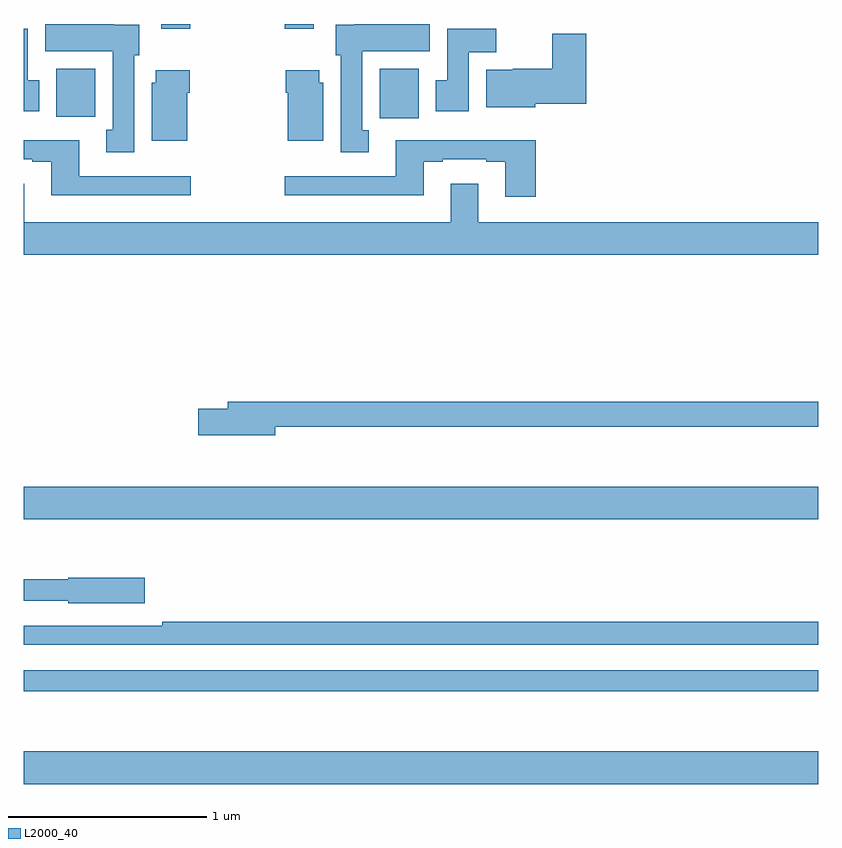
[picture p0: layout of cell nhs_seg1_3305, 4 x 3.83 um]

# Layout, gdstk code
import gdstk
lib = gdstk.Library(unit=1e-6, precision=1e-09)
def R(c, l, rs):  # rectangles x0, y0, x1, y1
    for r in rs: c.add(gdstk.rectangle(r[:2], r[2:], *l))
def P(c, l, *ps):  # polygons
    for p in ps: c.add(gdstk.Polygon(p, *l))
L2000_40 = (2000, 40)

nhs_seg1_3305 = lib.new_cell('nhs_seg1_3305')
R(nhs_seg1_3305, L2000_40, [(289,578.372,293,578.536), (289,578.838,293,578.946), (289,579.704,293,579.868), (290.793,581.724,290.989,581.974), (289.163,581.732,289.36,581.974), (289.691,582.174,289.839,582.199), (290.314,582.174,290.461,582.199)])
P(nhs_seg1_3305, L2000_40, [(290.737,581.665),(290.704,581.665),(290.704,582.062),(291.043,582.062),(291.043,582.199),(290.663,582.199),(290.663,582.196),(290.57,582.196),(290.57,582.042),(290.597,582.042),(290.597,581.553),(290.737,581.553)],
  [(289.555,582.042),(289.582,582.042),(289.582,582.196),(289.453,582.196),(289.453,582.199),(289.109,582.199),(289.109,582.062),(289.448,582.062),(289.448,581.666),(289.415,581.666),(289.415,581.553),(289.555,581.553)],
  [(289.078,581.916),(289.021,581.916),(289.021,582.174),(289,582.174),(289,581.76),(289.078,581.76)],
  [(291.241,582.056),(291.38,582.056),(291.38,582.174),(291.131,582.174),(291.131,581.916),(291.074,581.916),(291.074,581.76),(291.241,581.76)],
  [(291.576,581.798),(291.833,581.798),(291.833,582.151),(291.662,582.151),(291.662,581.974),(291.462,581.974),(291.462,581.968),(291.329,581.968),(291.329,581.78),(291.576,581.78)],
  [(289.822,581.852),(289.835,581.852),(289.835,581.965),(289.664,581.965),(289.664,581.904),(289.643,581.904),(289.643,581.612),(289.822,581.612)],
  [(290.509,581.904),(290.488,581.904),(290.488,581.965),(290.318,581.965),(290.318,581.852),(290.33,581.852),(290.33,581.612),(290.509,581.612)],
  [(289.84,581.433),(289.279,581.433),(289.279,581.614),(289,581.614),(289,581.517),(289.043,581.517),(289.043,581.505),(289.139,581.505),(289.139,581.336),(289.84,581.336)],
  [(291.578,581.614),(290.873,581.614),(290.873,581.433),(290.313,581.433),(290.313,581.336),(291.013,581.336),(291.013,581.505),(291.109,581.505),(291.109,581.517),(291.329,581.517),(291.329,581.505),(291.425,581.505),(291.425,581.328),(291.578,581.328)],
  [(293,581.2),(291.289,581.2),(291.289,581.395),(291.149,581.395),(291.149,581.2),(289.003,581.2),(289.003,581.395),(289,581.395),(289,581.036),(293,581.036)],
  [(290.266,580.17),(293,580.17),(293,580.298),(290.027,580.298),(290.027,580.262),(289.878,580.262),(289.878,580.127),(290.266,580.127)],
  [(289.609,579.411),(289.224,579.411),(289.224,579.403),(289,579.403),(289,579.294),(289.224,579.294),(289.224,579.281),(289.609,579.281)],
  [(293,579.188),(289.696,579.188),(289.696,579.168),(289,579.168),(289,579.072),(293,579.072)])

lib.write_gds('nhs_seg1_3305.gds')
